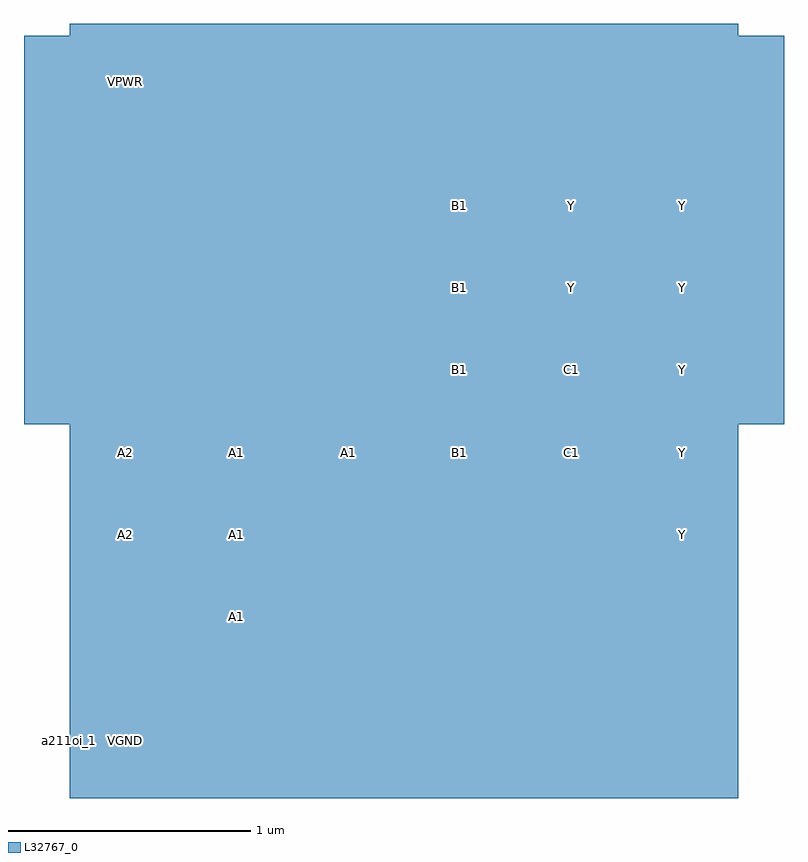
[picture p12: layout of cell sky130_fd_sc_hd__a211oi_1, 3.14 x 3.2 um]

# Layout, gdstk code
import gdstk
lib = gdstk.Library(unit=1e-6, precision=1e-09)
def R(c, l, rs):  # rectangles x0, y0, x1, y1
    for r in rs: c.add(gdstk.rectangle(r[:2], r[2:], *l))
def A(c, l, x, y, w, h, nx, ny, dx, dy):  # array of equal rectangles
    R(c, l, [(x+i*dx, y+j*dy, x+i*dx+w, y+j*dy+h) for i in range(nx) for j in range(ny)])
def P(c, l, *ps):  # polygons
    for p in ps: c.add(gdstk.Polygon(p, *l))
L32767_0 = (32767, 0)

sky130_fd_sc_hd__a211oi_ = lib.new_cell('sky130_fd_sc_hd__a211oi_1')
A(sky130_fd_sc_hd__a211oi_, L32767_0, 0.145, -0.085, 0.17, 0.17, 6, 2, 0.46, 1.19)
A(sky130_fd_sc_hd__a211oi_, L32767_0, 1.525, 1.445, 0.17, 0.17, 3, 2, 0.46, 0.68)
A(sky130_fd_sc_hd__a211oi_, L32767_0, 0.145, 2.635, 0.17, 0.17, 6, 1, 0.46, 0)
R(sky130_fd_sc_hd__a211oi_, L32767_0, [(0,-0.19,2.76,1.015), (0.145,-0.085,0.315,0.085), (0.145,-0.085,0.315,0.085), (0,0,2.76,2.72), (0,0,2.76,2.72), (0.135,0.235,2.28,0.885), (1.625,0.275,1.795,0.445), (0.175,0.425,0.345,0.595), (0.605,0.425,0.775,0.595), (1.18,0.445,1.35,0.615), (2.07,0.445,2.24,0.615), (0.095,0.765,0.435,1.325), (0.145,0.765,0.315,0.935), (0.605,0.765,0.775,0.935), (2.445,0.765,2.615,0.935), (0,0.975,2.76,1.345), (1.935,0.995,2.235,1.615), (0.265,1.075,0.435,1.245), (0.955,1.075,1.125,1.245), (1.435,1.075,1.605,1.245), (2.065,1.075,2.235,1.245), (0,1.25,2.76,2.72), (-0.19,1.305,2.95,2.91), (0,1.355,2.76,2.91), (0.28,1.485,2.28,2.485), (0.32,1.765,0.49,1.935), (1.18,1.765,1.35,1.935), (1.525,1.785,1.695,1.955), (1.985,1.785,2.155,1.955), (2.07,1.785,2.24,1.955), (2.445,1.785,2.615,1.955), (0.75,1.935,0.92,2.105), (0.32,2.105,0.49,2.275), (1.18,2.105,1.35,2.275), (2.07,2.185,2.24,2.355), (0.75,2.275,0.92,2.445), (0.145,2.635,0.315,2.805), (0.145,2.635,0.315,2.805)])
P(sky130_fd_sc_hd__a211oi_, L32767_0, [(2.76,2.805),(0,2.805),(0,2.635),(0.67,2.635),(0.67,1.905),(1,1.905),(1,2.635),(2.76,2.635)],
  [(2.76,0.085),(1.875,0.085),(1.875,0.455),(1.545,0.455),(1.545,0.085),(0.425,0.085),(0.425,0.595),(0.085,0.595),(0.085,0.085),(0,0.085),(0,-0.085),(2.76,-0.085)],
  [(1.755,2.455),(1.525,2.455),(1.525,1.325),(1.425,1.325),(1.425,0.995),(1.755,0.995)],
  [(1.245,1.325),(0.605,1.325),(0.605,0.265),(0.855,0.265),(0.855,0.995),(1.245,0.995)],
  [(1.355,2.455),(1.17,2.455),(1.17,1.725),(0.5,1.725),(0.5,2.455),(0.25,2.455),(0.25,1.525),(1.355,1.525)],
  [(2.66,2.455),(1.935,2.455),(1.935,1.785),(2.445,1.785),(2.445,0.815),(1.18,0.815),(1.18,0.265),(1.365,0.265),(1.365,0.625),(2.055,0.625),(2.055,0.265),(2.28,0.265),(2.28,0.625),(2.66,0.625)],
  [(0.695,2.615),(0.545,2.615),(0.545,1.325),(0.215,1.325),(0.215,0.995),(0.545,0.995),(0.545,0.105),(0.695,0.105)],
  [(1.175,1.325),(1.125,1.325),(1.125,2.615),(0.975,2.615),(0.975,1.325),(0.905,1.325),(0.905,0.995),(0.975,0.995),(0.975,0.105),(1.125,0.105),(1.125,0.995),(1.175,0.995)],
  [(2.285,1.325),(2.015,1.325),(2.015,2.615),(1.865,2.615),(1.865,0.105),(2.015,0.105),(2.015,0.995),(2.285,0.995)],
  [(1.655,1.325),(1.555,1.325),(1.555,2.615),(1.405,2.615),(1.405,1.325),(1.385,1.325),(1.385,0.995),(1.405,0.995),(1.405,0.105),(1.555,0.105),(1.555,0.995),(1.655,0.995)])
sky130_fd_sc_hd__a211oi_.add(gdstk.FlexPath([(0,0),(2.76,0)], 0.48, ends="flush", simple_path=True, layer=32767, datatype=0))  # L32767_0
sky130_fd_sc_hd__a211oi_.add(gdstk.FlexPath([(0,2.72),(2.76,2.72)], 0.48, ends="flush", simple_path=True, layer=32767, datatype=0))  # L32767_0
sky130_fd_sc_hd__a211oi_.add(gdstk.Label('A1', (0.69,0.85), layer=32767, texttype=5))
sky130_fd_sc_hd__a211oi_.add(gdstk.Label('C1', (2.07,1.19), layer=32767, texttype=5))
sky130_fd_sc_hd__a211oi_.add(gdstk.Label('A1', (1.15,1.19), layer=32767, texttype=5))
sky130_fd_sc_hd__a211oi_.add(gdstk.Label('B1', (1.61,1.19), layer=32767, texttype=5))
sky130_fd_sc_hd__a211oi_.add(gdstk.Label('Y', (2.53,2.21), layer=32767, texttype=5))
sky130_fd_sc_hd__a211oi_.add(gdstk.Label('Y', (2.53,1.87), layer=32767, texttype=5))
sky130_fd_sc_hd__a211oi_.add(gdstk.Label('Y', (2.53,1.53), layer=32767, texttype=5))
sky130_fd_sc_hd__a211oi_.add(gdstk.Label('Y', (2.53,1.19), layer=32767, texttype=5))
sky130_fd_sc_hd__a211oi_.add(gdstk.Label('Y', (2.53,0.85), layer=32767, texttype=5))
sky130_fd_sc_hd__a211oi_.add(gdstk.Label('Y', (2.07,2.21), layer=32767, texttype=5))
sky130_fd_sc_hd__a211oi_.add(gdstk.Label('Y', (2.07,1.87), layer=32767, texttype=5))
sky130_fd_sc_hd__a211oi_.add(gdstk.Label('A2', (0.23,1.19), layer=32767, texttype=5))
sky130_fd_sc_hd__a211oi_.add(gdstk.Label('A1', (0.69,0.51), layer=32767, texttype=5))
sky130_fd_sc_hd__a211oi_.add(gdstk.Label('A2', (0.23,0.85), layer=32767, texttype=5))
sky130_fd_sc_hd__a211oi_.add(gdstk.Label('A1', (0.69,1.19), layer=32767, texttype=5))
sky130_fd_sc_hd__a211oi_.add(gdstk.Label('B1', (1.61,1.53), layer=32767, texttype=5))
sky130_fd_sc_hd__a211oi_.add(gdstk.Label('B1', (1.61,1.87), layer=32767, texttype=5))
sky130_fd_sc_hd__a211oi_.add(gdstk.Label('B1', (1.61,2.21), layer=32767, texttype=5))
sky130_fd_sc_hd__a211oi_.add(gdstk.Label('C1', (2.07,1.53), layer=32767, texttype=5))
sky130_fd_sc_hd__a211oi_.add(gdstk.Label('VPWR', (0.23,2.72), layer=32767, texttype=5))
sky130_fd_sc_hd__a211oi_.add(gdstk.Label('VGND', (0.23,0), layer=32767, texttype=5))
sky130_fd_sc_hd__a211oi_.add(gdstk.Label('VPB', (0.23,2.72), layer=32767, texttype=5))
sky130_fd_sc_hd__a211oi_.add(gdstk.Label('VNB', (0.23,0), layer=32767, texttype=59))
sky130_fd_sc_hd__a211oi_.add(gdstk.Label('a211oi_1', (0,0), layer=32767, texttype=44))

lib.write_gds('sky130_fd_sc_hd__a211oi_1.gds')
